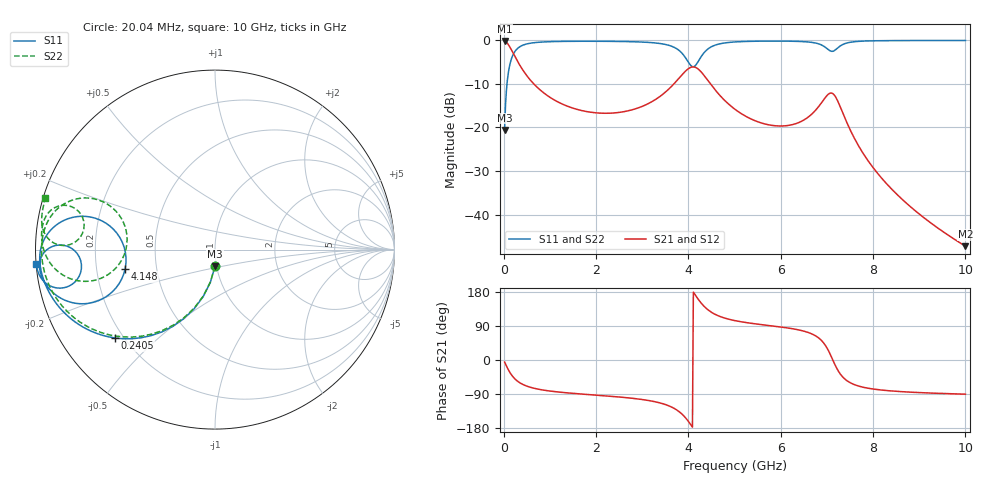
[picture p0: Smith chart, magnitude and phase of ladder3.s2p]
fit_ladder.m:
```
% Load the tabulated curve to fit
[ f, v2 ] = load_s2p( "ladder3.s2p" );
v = squeeze( v2(2,1,:) );
    
% Order of approximation, number of poles
npoles = 5;

% Number of the pole relocating iterations
niter = 2;

[ poles, resid, d, rmserr ] = causal_fit( f, v, v*0+1, npoles, niter, 1 );

rmserr

% poles
do_plots = 1;

if do_plots

    % Mirror frequencies for the plots
    frq = [ -flip( f(2:end), 1 ) ; f ];
    val = [ flip( real( v(2:end) ) + -i*imag( v(2:end) ), 1 ) ; v ];

    % Laplace frequencies
    s = 2*pi*i*frq;

    ns = size( s, 1 );
    np = size( poles, 1 );

    % Plot source and approximated function
    figure(1)
    residr = repmat( resid.', ns, 1 );
    pr = repmat( poles.', ns, 1 );
    vt = sum( residr ./ ( repmat( s, 1, np ) - pr ), 2 ) + d;
    maxerr = max( abs( vt - val ) );
    plot( s/i, abs(val), '*r', s/i, abs(vt), '-b' );
    legend( 'source', 'fit' )

    % Plot poles
    figure(2)
    plot( real(poles), imag(poles), '*' )
    xlim( [ -1e10 1e10 ] )
    ylim( [ -6e10 6e10 ] )
    xlabel('real(s)')
    ylabel('imag(s)')

    % 3d surface plot
    figure(3)

    maxr = max( abs( real( poles ) ) );
    maxi = max( abs( imag( poles ) ) );

    nr = 20*2;
    ni = 120*2;

    mr = linspace( -2e10, 0, nr );
    mi = linspace( -6e10, 6e10, ni );

    [ meshr, meshi ] = meshgrid( mr, mi );

    s = reshape( meshr + i*meshi, [ ], 1 );

    ns = size( s, 1 );
    residr = repmat( resid.', ns, 1 );
    pr = repmat( poles.', ns, 1 );
    ft = sum( residr ./ ( repmat( s, 1, np ) - pr ), 2 );

    ftmesh = reshape( ft, ni, nr );

    surf( meshr, meshi, min( 2.5, abs(ftmesh) ) )
    xlim( [ -6e10 6e10 ] )
    ylim( [ -6e10 6e10 ] )
    zlim( [ 0 2.6 ] )
    caxis( [ 0 2.6 ] )
    xlabel('real(s)')
    ylabel('imag(s)')
    colormap(jet)
    
end
```
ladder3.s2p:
# HZ S  RI R 5.000000e+01
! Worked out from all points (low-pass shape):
!   499 points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, 20.04 MHz to 10 GHz, reference 50 ohm
!   highest |S21| = -0.12 dB at 20.04 MHz (marker M1); lowest = -47.3 dB at 10 GHz (marker M2)
!   |S21| within 3 dB of the highest: start of sweep to 214.8 MHz
!   lowest |S11| = -20.6 dB at 20.04 MHz (marker M3), VSWR 1.21, Z = 49.1 - j9.28 ohm
!   |S11| at or under -10 dB: start of sweep to 72.26 MHz
!   |S22| runs from -20.7 to -0.1 dB; largest |S21 - S12| = 1.9e-15
!   S11 on the Smith chart (normalised r, x): 20.04 MHz: 0.98, -0.19; 240.5 MHz: 0.17, -0.37; 4.148 GHz: 0.33, -0.10; 10 GHz: 0.00, -0.04
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2.004008e7  3.07e-05 -0.0936  0.9822 -0.0942  0.9822 -0.0942  6.68e-05 -0.0925
2.40481e8  -0.5556 -0.4927  0.4275 -0.5005  0.4275 -0.5005  -0.5533 -0.4818
6.813627e8  -0.9053 -0.2702  0.0776 -0.2953  0.0776 -0.2953  -0.9009 -0.2438
2.064128e9  -0.9766 -0.0472  -0.00845 -0.1462  -0.00845 -0.1462  -0.9656 0.029
3.787575e9  -0.7534 0.1852  -0.2576 -0.2557  -0.2576 -0.2557  -0.7105 0.2875
4.148297e9  -0.5008 -0.1083  -0.4863 0.0704  -0.4863 0.0704  -0.5055 -0.0284
5.01002e9  -0.9402 -0.1972  -0.0387 0.157  -0.0387 0.157  -0.949 -0.0164
6.172345e9  -0.9773 -0.0757  0.0107 0.1052  0.0107 0.1052  -0.9568 0.1502
7.114228e9  -0.7442 -0.0836  0.2468 0.0165  0.2468 0.0165  -0.731 0.1152
8.216433e9  -0.9851 -0.1268  0.00449 -0.0247  0.00449 -0.0247  -0.9654 0.1768
1e10  -0.9958 -0.0808  -1.24e-05 -0.00433  -1.24e-05 -0.00433  -0.9451 0.286
